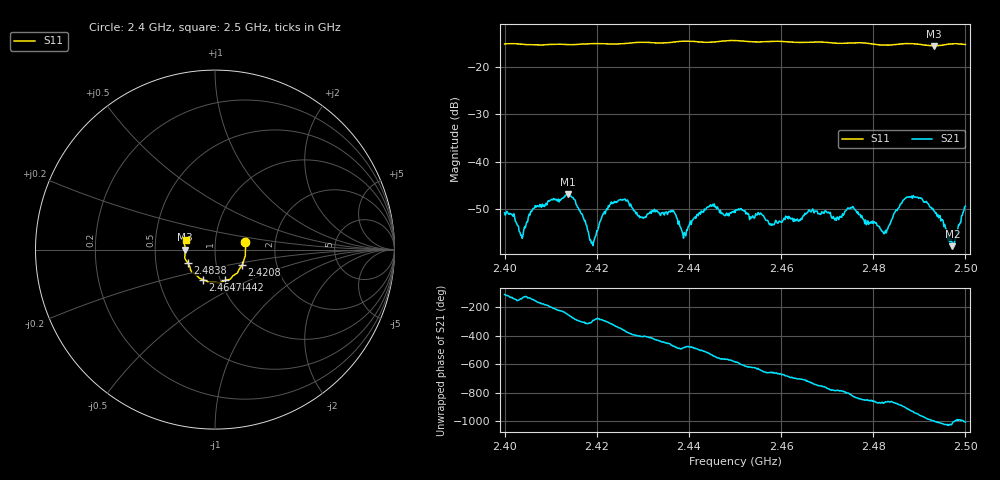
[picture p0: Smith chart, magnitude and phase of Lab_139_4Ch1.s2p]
# Hz S RI R 50
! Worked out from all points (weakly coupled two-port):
!   601 points, 2.4 GHz to 2.5 GHz, reference 50 ohm
!   highest |S21| = -46.86 dB at 2.4137 GHz (marker M1); lowest = -57.8 dB at 2.4972 GHz (marker M2)
!   lowest |S11| = -15.6 dB at 2.4932 GHz (marker M3), VSWR 1.40, Z = 35.8 - j0.0854 ohm
!   |S11| at or under -10 dB: start of sweep to end of sweep
!   S12 and S22 are empty: the file has one direction only
!   S11 on the Smith chart (normalised r, x): 2.4 GHz: 1.40, +0.12; 2.4208 GHz: 1.33, -0.24; 2.4442 GHz: 1.05, -0.37; 2.4647 GHz: 0.83, -0.29; 2.4838 GHz: 0.73, -0.11; 2.5 GHz: 0.72, +0.08
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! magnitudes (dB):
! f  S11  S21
! 2.4 GHz  -15.2  -50.7
! 2.4037 GHz  -15.3  -55.5
! 2.4067 GHz  -15.4  -49.2
! 2.4137 GHz  -15.3  -46.9
! 2.4167 GHz  -15.3  -50.9
! 2.419 GHz  -15.2  -56.9
! 2.4208 GHz  -15.2  -52.4
! 2.4252 GHz  -15.2  -47.9
! 2.4333 GHz  -15.0  -50.7
! 2.4367 GHz  -14.8  -50.3
! 2.439 GHz  -14.6  -54.9
! 2.4442 GHz  -14.9  -49.5
! 2.45 GHz  -14.5  -50.7
! 2.4647 GHz  -14.9  -51.6
! 2.4667 GHz  -14.8  -50.3
! 2.4755 GHz  -15.0  -49.4
! 2.4833 GHz  -15.5  -53.6
! 2.4838 GHz  -15.4  -52.6
! 2.4877 GHz  -15.1  -47.4
! 2.4932 GHz  -15.6  -50.4
! 2.4972 GHz  -15.2  -57.8
! 2.5 GHz  -15.3  -49.4
